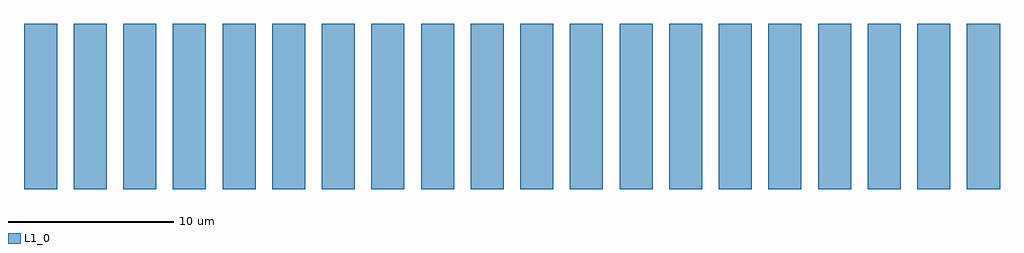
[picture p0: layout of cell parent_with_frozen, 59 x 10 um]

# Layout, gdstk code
import gdstk
lib = gdstk.Library(unit=1e-6, precision=1e-09)
def R(c, l, rs):  # rectangles x0, y0, x1, y1
    for r in rs: c.add(gdstk.rectangle(r[:2], r[2:], *l))
def A(c, l, x, y, w, h, nx, ny, dx, dy):  # array of equal rectangles
    R(c, l, [(x+i*dx, y+j*dy, x+i*dx+w, y+j*dy+h) for i in range(nx) for j in range(ny)])
L1_0 = (1, 0)

frozen_inst_0 = lib.new_cell('frozen_inst_0')
A(frozen_inst_0, L1_0, 0, 0, 2, 10, 20, 1, 3, 0)

frozen_inst_1 = lib.new_cell('frozen_inst_1')
A(frozen_inst_1, L1_0, 0, 0, 2, 10, 20, 1, 3, 0)

frozen_inst_2 = lib.new_cell('frozen_inst_2')
A(frozen_inst_2, L1_0, 0, 0, 2, 10, 20, 1, 3, 0)

frozen_inst_3 = lib.new_cell('frozen_inst_3')
A(frozen_inst_3, L1_0, 0, 0, 2, 10, 20, 1, 3, 0)

frozen_inst_4 = lib.new_cell('frozen_inst_4')
A(frozen_inst_4, L1_0, 0, 0, 2, 10, 20, 1, 3, 0)

frozen_inst_5 = lib.new_cell('frozen_inst_5')
A(frozen_inst_5, L1_0, 0, 0, 2, 10, 20, 1, 3, 0)

frozen_inst_6 = lib.new_cell('frozen_inst_6')
A(frozen_inst_6, L1_0, 0, 0, 2, 10, 20, 1, 3, 0)

frozen_inst_7 = lib.new_cell('frozen_inst_7')
A(frozen_inst_7, L1_0, 0, 0, 2, 10, 20, 1, 3, 0)

frozen_inst_8 = lib.new_cell('frozen_inst_8')
A(frozen_inst_8, L1_0, 0, 0, 2, 10, 20, 1, 3, 0)

frozen_inst_9 = lib.new_cell('frozen_inst_9')
A(frozen_inst_9, L1_0, 0, 0, 2, 10, 20, 1, 3, 0)

parent_with_frozen = lib.new_cell('parent_with_frozen')
parent_with_frozen.add(gdstk.Reference(frozen_inst_0, (0,0)))
parent_with_frozen.add(gdstk.Reference(frozen_inst_1, (0,0)))
parent_with_frozen.add(gdstk.Reference(frozen_inst_2, (0,0)))
parent_with_frozen.add(gdstk.Reference(frozen_inst_3, (0,0)))
parent_with_frozen.add(gdstk.Reference(frozen_inst_4, (0,0)))
parent_with_frozen.add(gdstk.Reference(frozen_inst_5, (0,0)))
parent_with_frozen.add(gdstk.Reference(frozen_inst_6, (0,0)))
parent_with_frozen.add(gdstk.Reference(frozen_inst_7, (0,0)))
parent_with_frozen.add(gdstk.Reference(frozen_inst_8, (0,0)))
parent_with_frozen.add(gdstk.Reference(frozen_inst_9, (0,0)))

lib.write_gds('parent_with_frozen.gds')
